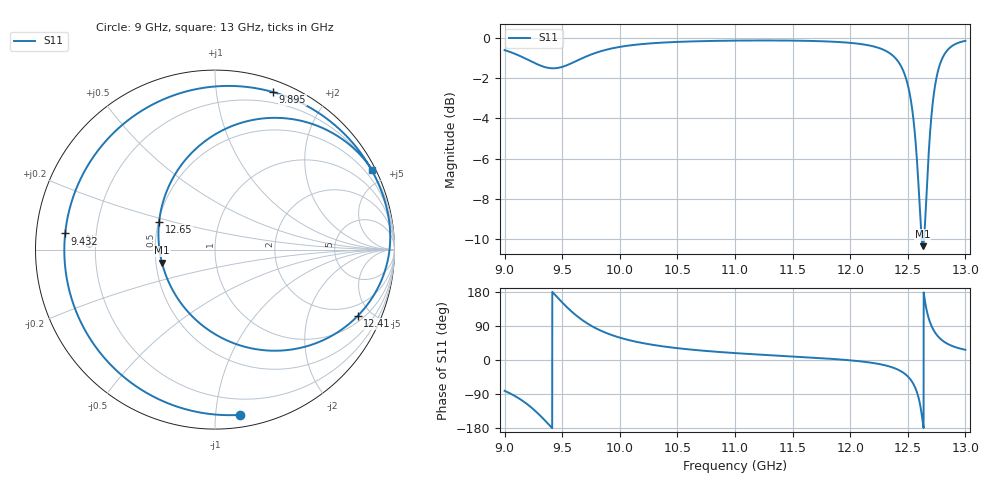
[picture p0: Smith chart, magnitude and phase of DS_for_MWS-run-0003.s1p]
! TOUCHSTONE file generated by CST DESIGN STUDIO
! Date and time: Tue Feb  4 18:17:53 2025
! Project name: C:\Work\MatlabApps\UnitCellOptimizationMatlab\CST\unitcell.cst
! Tree item: Tasks\Sweep1\SPara1\S-Parameters
! Header version: 2024
! Port assignment regex: !\s*Touchstone port\s*([0-9]+)\s*=\s*(CST MWS port|CST DES external port|CST DES block port)\s*(.+)\s* \(\"(.*)\"\)(\s*mode\s*([0-9]+))?.*
! Touchstone port assignment:
! Touchstone port 1 = CST DES external port 1 ("")
# GHz S MA R 50
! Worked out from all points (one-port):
!   4001 points, 9 GHz to 13 GHz, reference 50 ohm
!   lowest |S11| = -10.3 dB at 12.63 GHz (marker M1), VSWR 1.88, Z = 26.9 - j4.36 ohm
!   |S11| at or under -10 dB: 12.62097 GHz to 12.64055 GHz (19.58 MHz wide, 0.155 % of centre)
!   S11 on the Smith chart (normalised r, x): 9 GHz: 0.08, -1.16; 9.432 GHz: 0.09, +0.05; 9.895 GHz: 0.10, +1.43; 12.41 GHz: 1.30, -4.14; 12.65 GHz: 0.50, +0.18; 13 GHz: 0.17, +4.16
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9  0.9314 -81.3
9.124  0.9031 -101.3
9.224  0.8753 -123.3
9.34  0.847 -156.3
9.432  0.8396 173.9
9.5  0.8464 151.9
9.584  0.865 127.3
9.67  0.8882 106.3
9.767  0.9119 87.7
9.895  0.9353 69.8
10  0.9486 59.0
10.215  0.9652 43.7
10.5  0.976 31.2
11  0.9832 18.2
11.5  0.9832 9.3
12  0.9707 -0.9
12.265  0.9393 -11.4
12.411  0.8768 -24.9
12.5  0.7637 -43.3
12.574  0.5232 -80.2
12.602  0.3871 -110.6
12.631  0.3044 -166.0
12.65  0.3478 153.5
12.695  0.59 97.9
12.742  0.7766 70.1
12.789  0.8744 54.2
12.843  0.9301 43.0
13  0.9819 27.0
